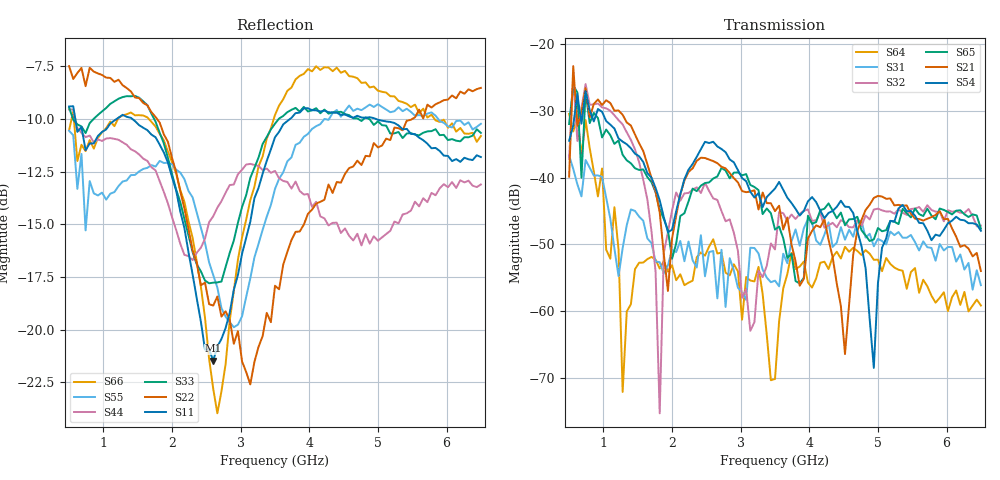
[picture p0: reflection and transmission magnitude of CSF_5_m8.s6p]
!Keysight Technologies,M9804A,MY58100912,A.14.10.03
!Date: Thursday, April 27, 2023 10:28:33
!Correction: S11(C  6-Port  )
!S12(C  6-Port  )
!S13(C  6-Port  )
!S14(C  6-Port  )
!S15(C  6-Port  )
!S16(C  6-Port  )
!S21(C  6-Port  )
!S22(C  6-Port  )
!S23(C  6-Port  )
!S24(C  6-Port  )
!S25(C  6-Port  )
!S26(C  6-Port  )
!S31(C  6-Port  )
!S32(C  6-Port  )
!S33(C  6-Port  )
!S34(C  6-Port  )
!S35(C  6-Port  )
!S36(C  6-Port  )
!S41(C  6-Port  )
!S42(C  6-Port  )
!S43(C  6-Port  )
!S44(C  6-Port  )
!S45(C  6-Port  )
!S46(C  6-Port  )
!S51(C  6-Port  )
!S52(C  6-Port  )
!S53(C  6-Port  )
!S54(C  6-Port  )
!S55(C  6-Port  )
!S56(C  6-Port  )
!S61(C  6-Port  )
!S62(C  6-Port  )
!S63(C  6-Port  )
!S64(C  6-Port  )
!S65(C  6-Port  )
!S66(C  6-Port  )
!S6P File: Measurement: :
# Hz S  RI  R 50
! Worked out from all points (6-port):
!   101 points, 500 MHz to 6.5 GHz, reference 50 ohm
!   strongest paths, dB at 500 MHz, 2 GHz, 3.5 GHz, 5 GHz, 6.5 GHz:
!     S54: -34.5, -47.8, -41.6, -55.8, -48.0
!     S21: -39.9, -49.1, -45.0, -42.7, -54.0
!     S65: -32.0, -52.2, -47.8, -47.5, -47.7
!     S32: -37.2, -44.9, -50.8, -44.7, -47.2
!     S31: -36.7, -50.8, -55.4, -49.2, -56.1
!     S64: -30.5, -53.1, -70.2, -52.3, -59.2
!   lowest |S11| = -21.5 dB at 2.6 GHz (marker M1), VSWR 1.18, Z = 42.5 + j2.2 ohm
!   |S11| at or under -10 dB: 590.1 MHz to 1.191 GHz (600.5 MHz wide, 67.5 % of centre); 1.423 GHz to 3.717 GHz (2.295 GHz wide, 89.3 % of centre); 4.973 GHz to end of sweep
